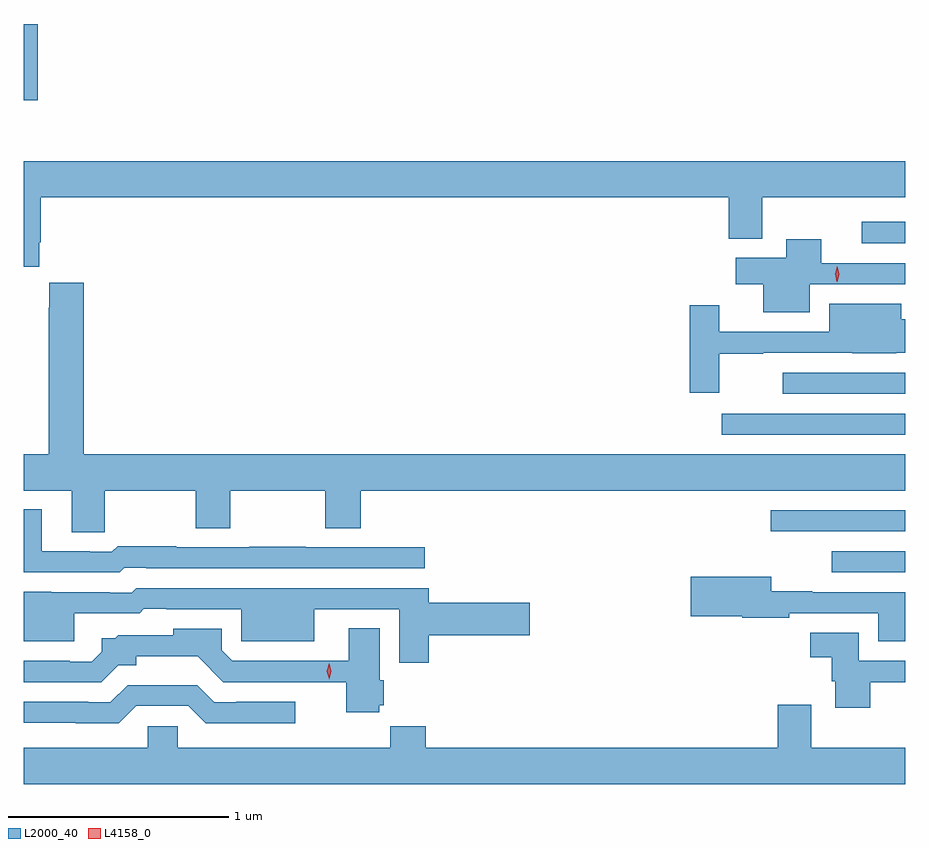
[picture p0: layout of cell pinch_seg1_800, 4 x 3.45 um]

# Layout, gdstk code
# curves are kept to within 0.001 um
import gdstk
lib = gdstk.Library(unit=1e-6, precision=1e-09)
def R(c, l, rs):  # rectangles x0, y0, x1, y1
    for r in rs: c.add(gdstk.rectangle(r[:2], r[2:], *l))
def P(c, l, *ps):  # polygons
    for p in ps: c.add(gdstk.Polygon(p, *l))
L2000_40 = (2000, 40)
L4158_0 = (4158, 0)

pinch_seg1_800 = lib.new_cell('pinch_seg1_800')
R(pinch_seg1_800, L2000_40, [(387.549,567.345,387.883,567.441), (387.273,567.531,387.883,567.627), (387.051,567.969,387.883,568.065), (387.327,568.155,387.883,568.251), (387.687,568.839,387.883,568.936), (383.883,569.487,383.945,569.834)])
P(pinch_seg1_800, L2000_40, [(383.953,568.843),(383.96,568.843),(383.96,569.048),(387.083,569.048),(387.083,568.859),(387.235,568.859),(387.235,569.048),(387.883,569.048),(387.883,569.212),(383.883,569.212),(383.883,568.731),(383.953,568.731)],
  [(387.451,568.653),(387.883,568.653),(387.883,568.749),(387.502,568.749),(387.502,568.858),(387.344,568.858),(387.344,568.774),(387.114,568.774),(387.114,568.652),(387.239,568.652),(387.239,568.526),(387.451,568.526)],
  [(384.249,567.716),(384.664,567.716),(384.664,567.544),(384.819,567.544),(384.819,567.716),(385.252,567.716),(385.252,567.544),(385.412,567.544),(385.412,567.716),(387.883,567.716),(387.883,567.88),(384.155,567.88),(384.155,568.66),(383.999,568.66),(383.999,568.547),(383.995,568.547),(383.995,567.88),(383.883,567.88),(383.883,567.716),(384.101,567.716),(384.101,567.526),(384.249,567.526)],
  [(387.04,568.336),(387.239,568.336),(387.239,568.341),(387.643,568.341),(387.643,568.34),(387.842,568.34),(387.842,568.341),(387.883,568.341),(387.883,568.494),(387.865,568.494),(387.865,568.564),(387.539,568.564),(387.539,568.437),(387.04,568.437),(387.04,568.558),(386.906,568.558),(386.906,568.161),(387.04,568.161)],
  [(384.339,567.366),(384.439,567.366),(384.439,567.363),(385.702,567.363),(385.702,567.459),(385.163,567.459),(385.163,567.462),(384.907,567.462),(384.907,567.459),(384.575,567.459),(384.575,567.464),(384.308,567.464),(384.282,567.438),(384.182,567.438),(384.182,567.441),(383.965,567.441),(383.965,567.631),(383.883,567.631),(383.883,567.345),(384.318,567.345)],
  [(387.883,567.255),(387.461,567.255),(387.461,567.26),(387.275,567.26),(387.275,567.324),(386.91,567.324),(386.91,567.146),(387.144,567.146),(387.144,567.139),(387.358,567.139),(387.358,567.159),(387.761,567.159),(387.761,567.032),(387.883,567.032)],
  [(385.721,567.059),(386.179,567.059),(386.179,567.206),(385.721,567.206),(385.721,567.273),(384.393,567.273),(384.372,567.252),(384.272,567.252),(384.272,567.255),(383.883,567.256),(383.883,567.032),(384.112,567.032),(384.112,567.159),(384.408,567.159),(384.428,567.179),(384.529,567.179),(384.529,567.177),(384.87,567.177),(384.87,567.032),(385.201,567.032),(385.201,567.177),(385.586,567.177),(385.586,566.934),(385.721,566.934)],
  [(385.497,566.742),(385.517,566.742),(385.517,566.856),(385.498,566.856),(385.498,567.092),(385.358,567.092),(385.358,566.943),(384.828,566.943),(384.78,566.991),(384.78,567.088),(384.561,567.088),(384.561,567.06),(384.312,567.06),(384.298,567.046),(384.237,567.046),(384.237,566.985),(384.192,566.94),(384.092,566.94),(384.092,566.943),(383.883,566.943),(383.883,566.847),(384.235,566.847),(384.312,566.924),(384.394,566.924),(384.394,566.963),(384.672,566.963),(384.788,566.847),(385.346,566.847),(385.346,566.709),(385.497,566.709)],
  [(387.724,566.847),(387.883,566.847),(387.883,566.943),(387.673,566.943),(387.673,567.07),(387.453,567.07),(387.453,566.96),(387.551,566.96),(387.551,566.85),(387.566,566.85),(387.566,566.73),(387.724,566.73)],
  [(384.393,566.739),(384.63,566.739),(384.709,566.66),(385.114,566.66),(385.114,566.757),(384.847,566.757),(384.847,566.754),(384.747,566.754),(384.669,566.832),(384.354,566.832),(384.276,566.754),(384.176,566.754),(384.176,566.757),(383.883,566.757),(383.883,566.661),(384.314,566.66)],
  [(387.883,566.548),(387.457,566.548),(387.457,566.743),(387.305,566.743),(387.305,566.548),(385.706,566.548),(385.706,566.646),(385.547,566.646),(385.547,566.548),(384.582,566.548),(384.582,566.646),(384.444,566.646),(384.444,566.548),(383.883,566.548),(383.883,566.384),(387.883,566.384)])
P(pinch_seg1_800, L4158_0, [(387.573,568.663),(387.573,568.663),(387.565,568.7),(387.576,568.735),(387.576,568.735),(387.576,568.735),(387.585,568.699),(387.574,568.663)],
  [(385.268,566.86),(385.268,566.861),(385.258,566.896),(385.268,566.932),(385.268,566.932),(385.268,566.932),(385.278,566.896),(385.268,566.861)])

lib.write_gds('pinch_seg1_800.gds')
